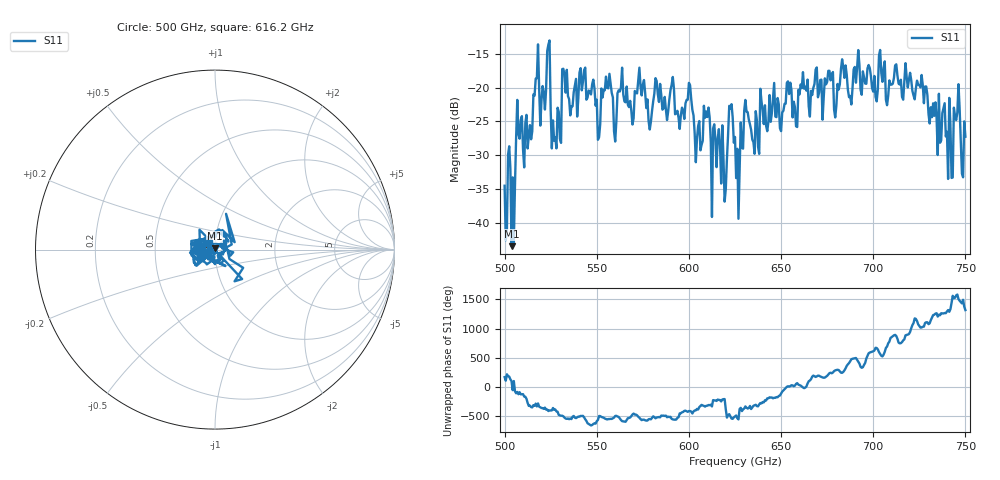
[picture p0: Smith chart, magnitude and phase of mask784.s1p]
!Created with skrf (http://scikit-rf.org).
# GHz S MA R 50.0
!freq magS11 angS11
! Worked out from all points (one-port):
!   401 points, 500 GHz to 750 GHz, reference 50 ohm
!   lowest |S11| = -43.5 dB at 503.8 GHz (marker M1), VSWR 1.01, Z = 49.9 + j0.664 ohm
!   |S11| at or under -10 dB: start of sweep to end of sweep
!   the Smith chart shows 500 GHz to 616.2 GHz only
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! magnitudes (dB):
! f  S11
! 500 GHz  -34.5
! 503.8 GHz  -43.5
! 507.5 GHz  -26.9
! 513.8 GHz  -25.6
! 516.9 GHz  -18.7
! 520.6 GHz  -19.8
! 523.8 GHz  -13.7
! 526.9 GHz  -27.9
! 531.2 GHz  -17.3
! 542.5 GHz  -19.2
! 550.6 GHz  -27.7
! 562.5 GHz  -20.6
! 593.8 GHz  -23.4
! 609.4 GHz  -23.5
! 618.8 GHz  -30.6
! 622.5 GHz  -23.1
! 625 GHz  -27.3
! 626.2 GHz  -29.1
! 631.2 GHz  -23.6
! 636.9 GHz  -24.9
! 656.2 GHz  -24.4
! 676.9 GHz  -18.9
! 680 GHz  -22.7
! 683.8 GHz  -17.0
! 687.5 GHz  -21.2
! 718.8 GHz  -20.0
! 741.9 GHz  -25.6
! 750 GHz  -27.3
